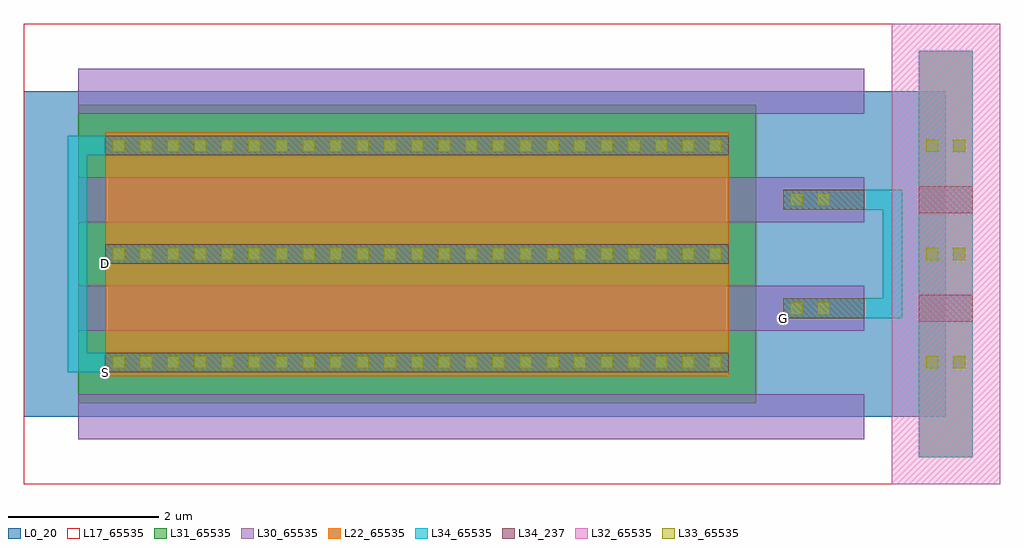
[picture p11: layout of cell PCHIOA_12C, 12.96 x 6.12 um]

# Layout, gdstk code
import gdstk
lib = gdstk.Library(unit=1e-6, precision=1e-09)
def R(c, l, rs):  # rectangles x0, y0, x1, y1
    for r in rs: c.add(gdstk.rectangle(r[:2], r[2:], *l))
def A(c, l, x, y, w, h, nx, ny, dx, dy):  # array of equal rectangles
    R(c, l, [(x+i*dx, y+j*dy, x+i*dx+w, y+j*dy+h) for i in range(nx) for j in range(ny)])
L0_20 = (0, 20)
L17_65535 = (17, 65535)
L22_65535 = (22, 65535)
L30_65535 = (30, 65535)
L31_65535 = (31, 65535)
L32_65535 = (32, 65535)
L33_65535 = (33, 65535)
L34_237 = (34, 237)
L34_65535 = (34, 65535)

pchio_12c = lib.new_cell('PCHIO_12C')
R(pchio_12c, L0_20, [(0,0,12.24,2.88)])
R(pchio_12c, L17_65535, [(0,-0.9,12.96,3.78)])
A(pchio_12c, L22_65535, 11.88, -0.54, 0.72, 0.36, 1, 11, 0, 0.36)
A(pchio_12c, L22_65535, 1.08, 0.54, 8.28, 0.36, 1, 5, 0, 0.36)
A(pchio_12c, L30_65535, 0.72, -0.3, 10.44, 0.6, 1, 3, 0, 1.44)
R(pchio_12c, L31_65535, [(0.72,0.18,9.72,2.7)])
R(pchio_12c, L32_65535, [(11.52,-0.9,12.96,3.78)])
A(pchio_12c, L33_65535, 1.18, 0.64, 0.16, 0.16, 23, 2, 0.36, 1.44)
R(pchio_12c, L33_65535, [(11.98,0.64,12.14,0.8), (12.34,0.64,12.5,0.8), (10.18,1.36,10.34,1.52), (10.54,1.36,10.7,1.52), (11.98,2.08,12.14,2.24), (12.34,2.08,12.5,2.24)])
R(pchio_12c, L34_237, [(1.08,0.59,9.36,0.85), (11.88,1.26,12.6,1.62), (10.08,1.31,11.16,1.57), (1.08,2.03,9.36,2.29)])
A(pchio_12c, L34_65535, 11.88, -0.54, 0.72, 0.36, 1, 11, 0, 0.36)
R(pchio_12c, L34_65535, [(1.08,0.59,9.36,0.85), (10.08,1.31,11.16,1.57), (1.08,2.03,9.36,2.29)])
pchio_12c.add(gdstk.Label('G', (10.08,1.31), layer=34, texttype=237))
pchio_12c.add(gdstk.Label('S', (1.08,0.59), layer=34, texttype=237))
pchio_12c.add(gdstk.Label('B', (11.88,1.26), layer=34, texttype=237))
pchio_12c.add(gdstk.Label('D', (1.08,2.03), layer=34, texttype=237))

pchioa_12c = lib.new_cell('PCHIOA_12C')
R(pchioa_12c, L0_20, [(0,0,12.24,4.32)])
R(pchioa_12c, L34_237, [(1.08,0.59,9.36,0.85), (10.08,1.31,11.16,1.57), (1.08,2.03,9.36,2.29)])
R(pchioa_12c, L34_65535, [(0.58,0.59,5.22,0.85), (0.58,0.59,0.84,3.73), (10.62,1.31,11.4,1.57), (11.4,1.31,11.66,3.01), (10.62,2.75,11.4,3.01), (0.58,3.47,5.22,3.73)])
pchioa_12c.add(gdstk.Reference(pchio_12c, (0,0)))
pchioa_12c.add(gdstk.Reference(pchio_12c, (0,1.44)))
pchioa_12c.add(gdstk.Label('S', (1.08,0.59), layer=58, texttype=65535))
pchioa_12c.add(gdstk.Label('G', (10.08,1.31), layer=58, texttype=65535))
pchioa_12c.add(gdstk.Label('D', (1.08,2.03), layer=34, texttype=237))
pchioa_12c.add(gdstk.Label('G', (10.08,1.31), layer=34, texttype=237))
pchioa_12c.add(gdstk.Label('S', (1.08,0.59), layer=34, texttype=237))

lib.write_gds('PCHIOA_12C.gds')
